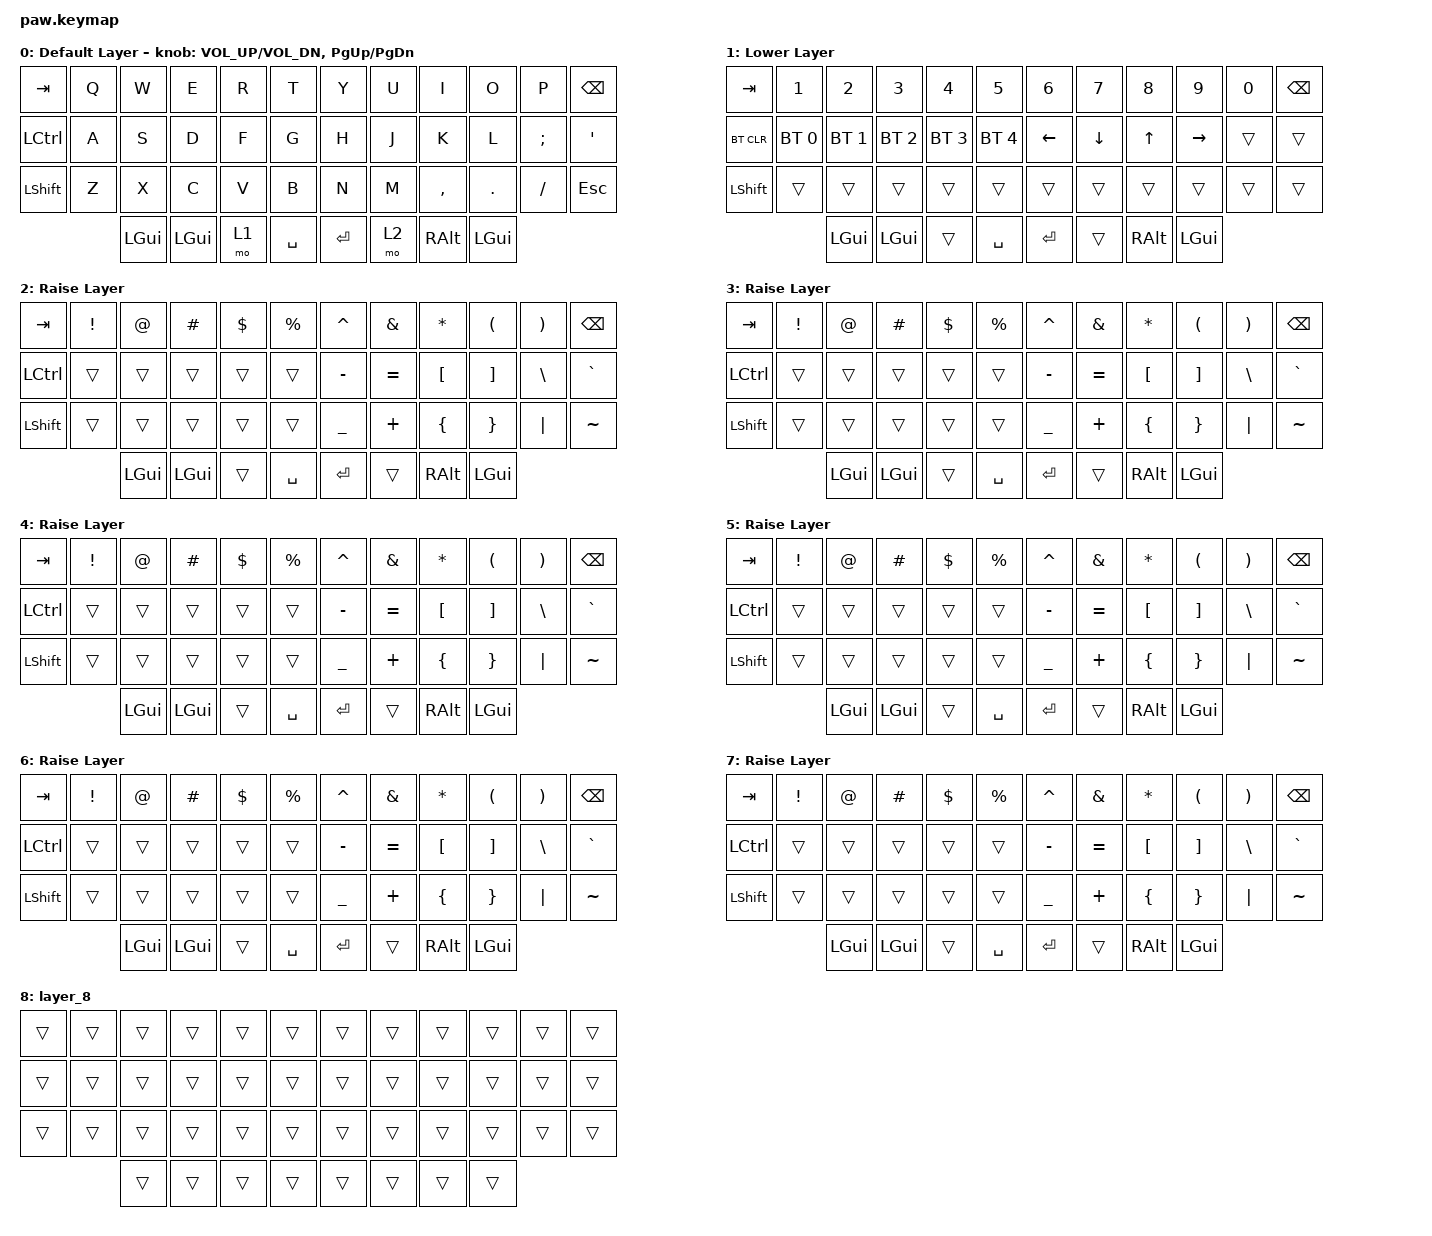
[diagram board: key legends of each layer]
/*
 * Copyright (c) 2020 The ZMK Contributors
 *
 * SPDX-License-Identifier: MIT
 */

#include <behaviors.dtsi>
#include <dt-bindings/zmk/bt.h>
#include <dt-bindings/zmk/keys.h>

/ {
    keymap {
        compatible = "zmk,keymap";

        default_layer {
            display-name = "Default Layer";

            // -----------------------------------------------------------------------------------------
            // |  TAB |  Q  |  W  |  E  |  R  |  T  |   |  Y  |  U   |  I  |  O  |  P  | BSPC |
            // | CTRL |  A  |  S  |  D  |  F  |  G  |   |  H  |  J   |  K  |  L  |  ;  |  '   |
            // | SHFT |  Z  |  X  |  C  |  V  |  B  |   |  N  |  M   |  ,  |  .  |  /  | ESC  |
            //                    | GUI | LWR | SPC |   | ENT | RSE  | ALT |

            bindings = <
&kp TAB    &kp Q  &kp W     &kp E     &kp R  &kp T          &kp Y    &kp U  &kp I      &kp O     &kp P     &kp BSPC
&kp LCTRL  &kp A  &kp S     &kp D     &kp F  &kp G          &kp H    &kp J  &kp K      &kp L     &kp SEMI  &kp SQT
&kp LSHFT  &kp Z  &kp X     &kp C     &kp V  &kp B          &kp N    &kp M  &kp COMMA  &kp DOT   &kp FSLH  &kp ESC
                  &kp LGUI  &kp LGUI  &mo 1  &kp SPACE      &kp RET  &mo 2  &kp RALT   &kp LGUI
            >;

            sensor-bindings =
                <&inc_dec_kp C_VOL_UP C_VOL_DN>,
                <&inc_dec_kp PG_UP PG_DN>;
        };

        lower_layer {
            display-name = "Lower Layer";

            // -----------------------------------------------------------------------------------------
            // |  TAB |  1  |  2  |  3  |  4  |  5  |   |  6  |  7  |  8  |  9  |  0  | BSPC |
            // | BTCLR| BT1 | BT2 | BT3 | BT4 | BT5 |   | LFT | DWN |  UP | RGT |     |      |
            // | SHFT |     |     |     |     |     |   |     |     |     |     |     |      |
            //                    | GUI |     | SPC |   | ENT |     | ALT |

            bindings = <
&kp TAB     &kp N1        &kp N2        &kp N3        &kp N4        &kp N5            &kp N6    &kp N7    &kp N8    &kp N9     &kp N0  &kp BSPC
&bt BT_CLR  &bt BT_SEL 0  &bt BT_SEL 1  &bt BT_SEL 2  &bt BT_SEL 3  &bt BT_SEL 4      &kp LEFT  &kp DOWN  &kp UP    &kp RIGHT  &trans  &trans
&kp LSHFT   &trans        &trans        &trans        &trans        &trans            &trans    &trans    &trans    &trans     &trans  &trans
                          &kp LGUI      &kp LGUI      &trans        &kp SPACE         &kp RET   &trans    &kp RALT  &kp LGUI
            >;
        };

        layer4 {
            display-name = "Raise Layer";

            // -----------------------------------------------------------------------------------------
            // |  TAB |  !  |  @  |  #  |  $  |  %  |   |  ^  |  &  |  *  |  (  |  )  | BSPC |
            // | CTRL |     |     |     |     |     |   |  -  |  =  |  [  |  ]  |  \  |  `   |
            // | SHFT |     |     |     |     |     |   |  _  |  +  |  {  |  }  | "|" |  ~   |
            //                    | GUI |     | SPC |   | ENT |     | ALT |

            bindings = <
&kp TAB    &kp EXCL  &kp AT    &kp HASH  &kp DLLR  &kp PRCNT      &kp CARET  &kp AMPS   &kp ASTRK  &kp LPAR  &kp RPAR  &kp BSPC
&kp LCTRL  &trans    &trans    &trans    &trans    &trans         &kp MINUS  &kp EQUAL  &kp LBKT   &kp RBKT  &kp BSLH  &kp GRAVE
&kp LSHFT  &trans    &trans    &trans    &trans    &trans         &kp UNDER  &kp PLUS   &kp LBRC   &kp RBRC  &kp PIPE  &kp TILDE
                     &kp LGUI  &kp LGUI  &trans    &kp SPACE      &kp RET    &trans     &kp RALT   &kp LGUI
            >;
        };

        layer5 {
            display-name = "Raise Layer";

            // -----------------------------------------------------------------------------------------
            // |  TAB |  !  |  @  |  #  |  $  |  %  |   |  ^  |  &  |  *  |  (  |  )  | BSPC |
            // | CTRL |     |     |     |     |     |   |  -  |  =  |  [  |  ]  |  \  |  `   |
            // | SHFT |     |     |     |     |     |   |  _  |  +  |  {  |  }  | "|" |  ~   |
            //                    | GUI |     | SPC |   | ENT |     | ALT |

            bindings = <
&kp TAB    &kp EXCL  &kp AT    &kp HASH  &kp DLLR  &kp PRCNT      &kp CARET  &kp AMPS   &kp ASTRK  &kp LPAR  &kp RPAR  &kp BSPC
&kp LCTRL  &trans    &trans    &trans    &trans    &trans         &kp MINUS  &kp EQUAL  &kp LBKT   &kp RBKT  &kp BSLH  &kp GRAVE
&kp LSHFT  &trans    &trans    &trans    &trans    &trans         &kp UNDER  &kp PLUS   &kp LBRC   &kp RBRC  &kp PIPE  &kp TILDE
                     &kp LGUI  &kp LGUI  &trans    &kp SPACE      &kp RET    &trans     &kp RALT   &kp LGUI
            >;
        };

        layer6 {
            display-name = "Raise Layer";

            // -----------------------------------------------------------------------------------------
            // |  TAB |  !  |  @  |  #  |  $  |  %  |   |  ^  |  &  |  *  |  (  |  )  | BSPC |
            // | CTRL |     |     |     |     |     |   |  -  |  =  |  [  |  ]  |  \  |  `   |
            // | SHFT |     |     |     |     |     |   |  _  |  +  |  {  |  }  | "|" |  ~   |
            //                    | GUI |     | SPC |   | ENT |     | ALT |

            bindings = <
&kp TAB    &kp EXCL  &kp AT    &kp HASH  &kp DLLR  &kp PRCNT      &kp CARET  &kp AMPS   &kp ASTRK  &kp LPAR  &kp RPAR  &kp BSPC
&kp LCTRL  &trans    &trans    &trans    &trans    &trans         &kp MINUS  &kp EQUAL  &kp LBKT   &kp RBKT  &kp BSLH  &kp GRAVE
&kp LSHFT  &trans    &trans    &trans    &trans    &trans         &kp UNDER  &kp PLUS   &kp LBRC   &kp RBRC  &kp PIPE  &kp TILDE
                     &kp LGUI  &kp LGUI  &trans    &kp SPACE      &kp RET    &trans     &kp RALT   &kp LGUI
            >;
        };

        layer7 {
            display-name = "Raise Layer";

            // -----------------------------------------------------------------------------------------
            // |  TAB |  !  |  @  |  #  |  $  |  %  |   |  ^  |  &  |  *  |  (  |  )  | BSPC |
            // | CTRL |     |     |     |     |     |   |  -  |  =  |  [  |  ]  |  \  |  `   |
            // | SHFT |     |     |     |     |     |   |  _  |  +  |  {  |  }  | "|" |  ~   |
            //                    | GUI |     | SPC |   | ENT |     | ALT |

            bindings = <
&kp TAB    &kp EXCL  &kp AT    &kp HASH  &kp DLLR  &kp PRCNT      &kp CARET  &kp AMPS   &kp ASTRK  &kp LPAR  &kp RPAR  &kp BSPC
&kp LCTRL  &trans    &trans    &trans    &trans    &trans         &kp MINUS  &kp EQUAL  &kp LBKT   &kp RBKT  &kp BSLH  &kp GRAVE
&kp LSHFT  &trans    &trans    &trans    &trans    &trans         &kp UNDER  &kp PLUS   &kp LBRC   &kp RBRC  &kp PIPE  &kp TILDE
                     &kp LGUI  &kp LGUI  &trans    &kp SPACE      &kp RET    &trans     &kp RALT   &kp LGUI
            >;
        };

        layer8 {
            display-name = "Raise Layer";

            // -----------------------------------------------------------------------------------------
            // |  TAB |  !  |  @  |  #  |  $  |  %  |   |  ^  |  &  |  *  |  (  |  )  | BSPC |
            // | CTRL |     |     |     |     |     |   |  -  |  =  |  [  |  ]  |  \  |  `   |
            // | SHFT |     |     |     |     |     |   |  _  |  +  |  {  |  }  | "|" |  ~   |
            //                    | GUI |     | SPC |   | ENT |     | ALT |

            bindings = <
&kp TAB    &kp EXCL  &kp AT    &kp HASH  &kp DLLR  &kp PRCNT      &kp CARET  &kp AMPS   &kp ASTRK  &kp LPAR  &kp RPAR  &kp BSPC
&kp LCTRL  &trans    &trans    &trans    &trans    &trans         &kp MINUS  &kp EQUAL  &kp LBKT   &kp RBKT  &kp BSLH  &kp GRAVE
&kp LSHFT  &trans    &trans    &trans    &trans    &trans         &kp UNDER  &kp PLUS   &kp LBRC   &kp RBRC  &kp PIPE  &kp TILDE
                     &kp LGUI  &kp LGUI  &trans    &kp SPACE      &kp RET    &trans     &kp RALT   &kp LGUI
            >;
        };

        layer10 {
            display-name = "Raise Layer";

            // -----------------------------------------------------------------------------------------
            // |  TAB |  !  |  @  |  #  |  $  |  %  |   |  ^  |  &  |  *  |  (  |  )  | BSPC |
            // | CTRL |     |     |     |     |     |   |  -  |  =  |  [  |  ]  |  \  |  `   |
            // | SHFT |     |     |     |     |     |   |  _  |  +  |  {  |  }  | "|" |  ~   |
            //                    | GUI |     | SPC |   | ENT |     | ALT |

            bindings = <
&kp TAB    &kp EXCL  &kp AT    &kp HASH  &kp DLLR  &kp PRCNT      &kp CARET  &kp AMPS   &kp ASTRK  &kp LPAR  &kp RPAR  &kp BSPC
&kp LCTRL  &trans    &trans    &trans    &trans    &trans         &kp MINUS  &kp EQUAL  &kp LBKT   &kp RBKT  &kp BSLH  &kp GRAVE
&kp LSHFT  &trans    &trans    &trans    &trans    &trans         &kp UNDER  &kp PLUS   &kp LBRC   &kp RBRC  &kp PIPE  &kp TILDE
                     &kp LGUI  &kp LGUI  &trans    &kp SPACE      &kp RET    &trans     &kp RALT   &kp LGUI
            >;
        };

        layer_8 {
            bindings = <
&trans  &trans  &trans  &trans  &trans  &trans      &trans  &trans  &trans  &trans  &trans  &trans
&trans  &trans  &trans  &trans  &trans  &trans      &trans  &trans  &trans  &trans  &trans  &trans
&trans  &trans  &trans  &trans  &trans  &trans      &trans  &trans  &trans  &trans  &trans  &trans
                &trans  &trans  &trans  &trans      &trans  &trans  &trans  &trans
            >;
        };
    };
};
